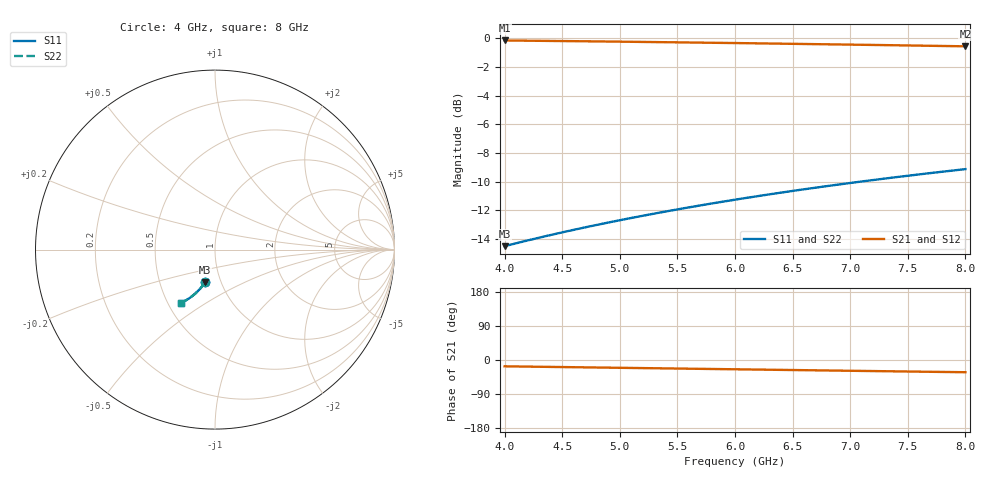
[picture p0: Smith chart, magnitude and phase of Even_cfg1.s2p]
! Sonnet Data File
! From: emgraph Version : 16.52
! From Emgraph Data: Waveguide
! Data File Written: 09/22/2017 15:03:04
!< HDATE 09/22/2017 14:36:31
!< MDATE 09/22/2017 14:36:31
# GHZ S MA R 50.00000
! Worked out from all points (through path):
!   201 points, 4 GHz to 8 GHz, reference 50 ohm
!   highest |S21| = -0.16 dB at 4 GHz (marker M1); lowest = -0.6 dB at 8 GHz (marker M2)
!   group delay of S21, straight-line fit = 10.8 ps
!   lowest |S11| = -14.5 dB at 4 GHz (marker M3), VSWR 1.46, Z = 42.2 - j15.8 ohm
!   |S11| at or under -10 dB: start of sweep to 7.095 GHz
!   |S22| runs from -14.5 to -9.1 dB; largest |S21 - S12| = 0
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4  0.1882 -106.7  0.9821 -16.7  0.9821 -16.7  0.1882 -106.7
!< P1 F=4.0 Eeff=(7.03022575 -3.2119e-5) Z0=(22.7879598 5.19441e-5) R=4.98395e-4 C=0.36917133
!< P2 F=4.0 Eeff=(7.03022575 -3.2119e-5) Z0=(22.7879598 5.19441e-5) R=4.98395e-4 C=0.36917133
4.16  0.1953 -107.3  0.9807 -17.3  0.9807 -17.3  0.1953 -107.3
4.34  0.2032 -108.1  0.9791 -18.1  0.9791 -18.1  0.2032 -108.1
4.52  0.2111 -108.8  0.9775 -18.8  0.9775 -18.8  0.2111 -108.8
4.68  0.2181 -109.4  0.9759 -19.4  0.9759 -19.4  0.2181 -109.4
5  0.2318 -110.7  0.9728 -20.7  0.9728 -20.7  0.2318 -110.7
5.34  0.2462 -112.0  0.9692 -22.1  0.9692 -22.1  0.2462 -112.0
5.66  0.2595 -113.3  0.9657 -23.3  0.9657 -23.3  0.2595 -113.3
5.98  0.2726 -114.6  0.9621 -24.6  0.9621 -24.6  0.2726 -114.6
6  0.2734 -114.6  0.9619 -24.6  0.9619 -24.6  0.2734 -114.6
6.34  0.287 -116.0  0.9579 -26.0  0.9579 -26.0  0.287 -116.0
6.68  0.3003 -117.3  0.9539 -27.3  0.9539 -27.3  0.3003 -117.3
7  0.3126 -118.5  0.9499 -28.5  0.9499 -28.5  0.3126 -118.5
7.34  0.3254 -119.8  0.9456 -29.8  0.9456 -29.8  0.3254 -119.8
7.48  0.3306 -120.3  0.9438 -30.3  0.9438 -30.3  0.3306 -120.3
7.54  0.3328 -120.6  0.943 -30.5  0.943 -30.5  0.3328 -120.6
7.56  0.3335 -120.6  0.9428 -30.6  0.9428 -30.6  0.3335 -120.6
7.62  0.3357 -120.9  0.942 -30.8  0.942 -30.8  0.3357 -120.9
7.64  0.3365 -120.9  0.9417 -30.9  0.9417 -30.9  0.3365 -120.9
7.7  0.3387 -121.2  0.9409 -31.1  0.9409 -31.1  0.3387 -121.2
7.78  0.3416 -121.4  0.9399 -31.4  0.9399 -31.4  0.3416 -121.4
8  0.3494 -122.3  0.937 -32.3  0.937 -32.3  0.3494 -122.3
